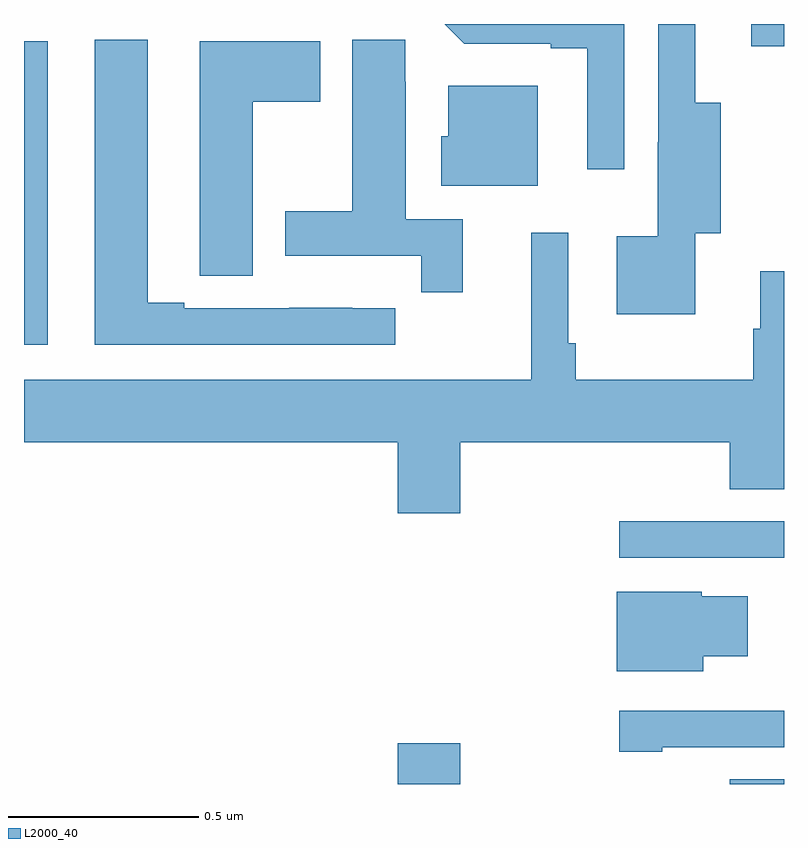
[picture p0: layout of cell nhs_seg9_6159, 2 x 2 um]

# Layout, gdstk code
import gdstk
lib = gdstk.Library(unit=1e-6, precision=1e-09)
def R(c, l, rs):  # rectangles x0, y0, x1, y1
    for r in rs: c.add(gdstk.rectangle(r[:2], r[2:], *l))
def P(c, l, *ps):  # polygons
    for p in ps: c.add(gdstk.Polygon(p, *l))
L2000_40 = (2000, 40)

nhs_seg9_6159 = lib.new_cell('nhs_seg9_6159')
R(nhs_seg9_6159, L2000_40, [(188.984,1215.5,189.148,1215.607), (189.857,1215.5,190,1215.512), (189.567,1216.095,190,1216.191), (188,1216.656,188.062,1217.454), (189.914,1217.442,190,1217.5)])
P(nhs_seg9_6159, L2000_40, [(189.766,1216.949),(189.834,1216.949),(189.834,1217.293),(189.766,1217.293),(189.766,1217.5),(189.669,1217.5),(189.669,1217.189),(189.668,1217.189),(189.668,1216.942),(189.56,1216.942),(189.56,1216.736),(189.766,1216.736)],
  [(189.579,1217.5),(189.107,1217.5),(189.159,1217.448),(189.386,1217.448),(189.386,1217.436),(189.482,1217.436),(189.482,1217.118),(189.579,1217.118)],
  [(189.155,1216.986),(189.004,1216.986),(189.004,1217.348),(189.003,1217.348),(189.003,1217.459),(188.864,1217.459),(188.864,1217.007),(188.687,1217.007),(188.687,1216.89),(189.046,1216.89),(189.046,1216.794),(189.155,1216.794)],
  [(188.977,1216.752),(188.864,1216.752),(188.864,1216.753),(188.698,1216.753),(188.698,1216.752),(188.422,1216.752),(188.422,1216.767),(188.326,1216.767),(188.326,1217.459),(188.186,1217.459),(188.186,1216.656),(188.977,1216.656)],
  [(188.602,1217.296),(188.779,1217.296),(188.779,1217.455),(188.462,1217.455),(188.462,1216.945),(188.463,1216.945),(188.463,1216.837),(188.602,1216.837)],
  [(189.352,1217.338),(189.116,1217.338),(189.116,1217.205),(189.098,1217.205),(189.098,1217.075),(189.352,1217.075)],
  [(189.148,1216.4),(189.857,1216.4),(189.857,1216.276),(190,1216.276),(190,1216.849),(189.938,1216.849),(189.938,1216.698),(189.919,1216.698),(189.919,1216.564),(189.452,1216.564),(189.452,1216.66),(189.432,1216.66),(189.432,1216.951),(189.335,1216.951),(189.335,1216.564),(188,1216.564),(188,1216.4),(188.984,1216.4),(188.984,1216.212),(189.148,1216.212)],
  [(189.787,1215.836),(189.904,1215.836),(189.904,1215.994),(189.783,1215.994),(189.783,1216.006),(189.56,1216.006),(189.56,1215.797),(189.787,1215.797)],
  [(189.679,1215.597),(190,1215.597),(190,1215.693),(189.567,1215.693),(189.567,1215.585),(189.679,1215.585)])

lib.write_gds('nhs_seg9_6159.gds')
